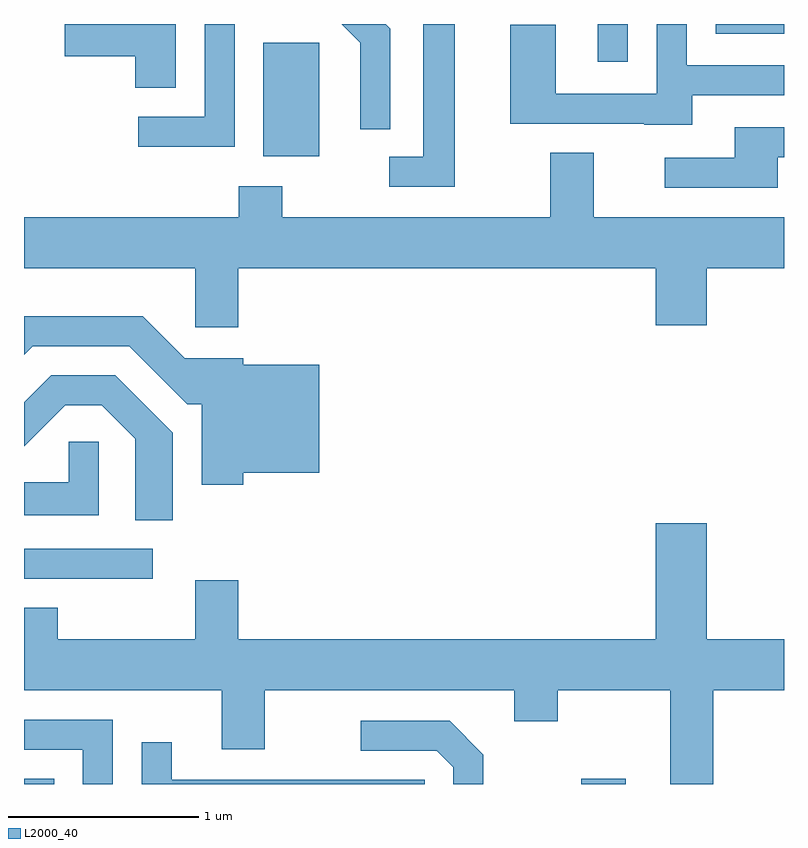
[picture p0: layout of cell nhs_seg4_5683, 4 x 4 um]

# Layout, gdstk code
import gdstk
lib = gdstk.Library(unit=1e-6, precision=1e-09)
def R(c, l, rs):  # rectangles x0, y0, x1, y1
    for r in rs: c.add(gdstk.rectangle(r[:2], r[2:], *l))
def P(c, l, *ps):  # polygons
    for p in ps: c.add(gdstk.Polygon(p, *l))
L2000_40 = (2000, 40)

nhs_seg4_5683 = lib.new_cell('nhs_seg4_5683')
R(nhs_seg4_5683, L2000_40, [(351.611,1331.982,351.769,1332.009), (354.543,1331.982,354.779,1332.009), (351.611,1333.061,352.288,1333.219), (352.871,1335.286,353.164,1335.884), (354.631,1335.783,354.789,1335.982), (355.251,1335.931,355.611,1335.982)])
P(nhs_seg4_5683, L2000_40, [(355.129,1335.606),(355.611,1335.606),(355.611,1335.764),(355.099,1335.764),(355.099,1335.982),(354.941,1335.982),(354.941,1335.614),(354.409,1335.614),(354.409,1335.979),(354.171,1335.979),(354.171,1335.456),(354.875,1335.456),(354.875,1335.451),(355.129,1335.451)],
  [(352.409,1335.982),(351.826,1335.982),(351.826,1335.811),(352.196,1335.811),(352.196,1335.646),(352.409,1335.646)],
  [(353.539,1335.957),(353.514,1335.982),(353.283,1335.982),(353.381,1335.884),(353.381,1335.428),(353.539,1335.428)],
  [(352.719,1335.982),(352.561,1335.982),(352.561,1335.494),(352.213,1335.494),(352.213,1335.336),(352.719,1335.336)],
  [(353.879,1335.982),(353.711,1335.982),(353.711,1335.284),(353.533,1335.284),(353.533,1335.126),(353.879,1335.126)],
  [(355.579,1335.281),(355.611,1335.281),(355.611,1335.439),(355.351,1335.439),(355.351,1335.279),(354.983,1335.279),(354.983,1335.121),(355.579,1335.121)],
  [(352.739,1334.696),(354.936,1334.696),(354.936,1334.396),(355.204,1334.396),(355.204,1334.696),(355.611,1334.696),(355.611,1334.964),(354.609,1334.964),(354.609,1335.304),(354.381,1335.304),(354.381,1334.964),(352.969,1334.964),(352.969,1335.129),(352.741,1335.129),(352.741,1334.964),(351.611,1334.964),(351.611,1334.696),(352.511,1334.696),(352.511,1334.386),(352.739,1334.386)],
  [(352.764,1333.621),(353.164,1333.621),(353.164,1334.189),(352.764,1334.189),(352.764,1334.224),(352.457,1334.224),(352.237,1334.444),(351.611,1334.444),(351.611,1334.24),(351.657,1334.286),(352.164,1334.286),(352.469,1333.981),(352.546,1333.981),(352.546,1333.556),(352.764,1333.556)],
  [(352.394,1333.832),(352.092,1334.134),(351.754,1334.134),(351.611,1333.991),(351.611,1333.76),(351.827,1333.976),(352.019,1333.976),(352.196,1333.799),(352.196,1333.371),(352.394,1333.371)],
  [(352.004,1333.783),(351.846,1333.783),(351.846,1333.569),(351.611,1333.569),(351.611,1333.396),(352.004,1333.396)],
  [(355.239,1332.476),(355.611,1332.476),(355.611,1332.744),(355.204,1332.744),(355.204,1333.354),(354.936,1333.354),(354.936,1332.744),(352.739,1332.744),(352.739,1333.054),(352.511,1333.054),(352.511,1332.744),(351.789,1332.744),(351.789,1332.909),(351.611,1332.909),(351.611,1332.476),(352.651,1332.476),(352.651,1332.166),(352.879,1332.166),(352.879,1332.476),(354.191,1332.476),(354.191,1332.311),(354.419,1332.311),(354.419,1332.476),(355.011,1332.476),(355.011,1331.982),(355.239,1331.982)],
  [(352.079,1332.319),(351.611,1332.319),(351.611,1332.161),(351.921,1332.161),(351.921,1331.982),(352.079,1331.982)],
  [(354.029,1332.137),(353.852,1332.314),(353.383,1332.314),(353.383,1332.156),(353.784,1332.156),(353.871,1332.069),(353.871,1331.982),(354.029,1331.982)],
  [(353.719,1332.004),(352.389,1332.004),(352.389,1332.203),(352.231,1332.203),(352.231,1331.982),(353.719,1331.982)])

lib.write_gds('nhs_seg4_5683.gds')
